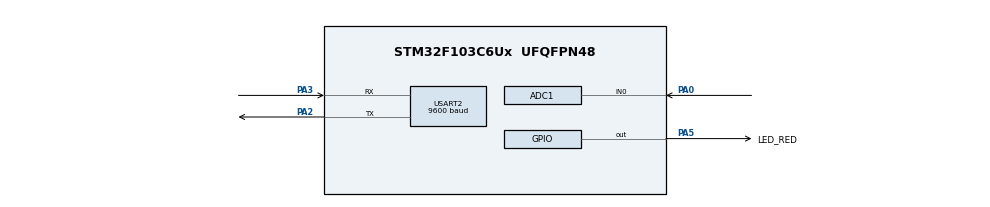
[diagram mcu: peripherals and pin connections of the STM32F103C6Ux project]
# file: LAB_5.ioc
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ADC1.Channel-0\#ChannelRegularConversion=ADC_CHANNEL_0
ADC1.ContinuousConvMode=ENABLE
ADC1.NbrOfConversionFlag=1
ADC1.Rank-0\#ChannelRegularConversion=1
ADC1.SamplingTime-0\#ChannelRegularConversion=ADC_SAMPLETIME_1CYCLE_5
ADC1.master=1
Mcu.Family=STM32F1
Mcu.Name=STM32F103C6Ux
Mcu.Package=UFQFPN48
NVIC.PriorityGroup=NVIC_PRIORITYGROUP_4
NVIC.TIM2_IRQn=true\:0\:0\:false\:false\:true\:true\:true
NVIC.USART2_IRQn=true\:0\:0\:false\:false\:true\:true\:true
PA0-WKUP.Signal=ADCx_IN0
PA2.Mode=Asynchronous
PA2.Signal=USART2_TX
PA3.Mode=Asynchronous
PA3.Signal=USART2_RX
PA5.GPIO_Label=LED_RED
PA5.Signal=GPIO_Output
ProjectManager.HeapSize=0x200
ProjectManager.StackSize=0x400
ProjectManager.TargetToolchain=STM32CubeIDE
RCC.APB1Freq_Value=8000000
RCC.APB2Freq_Value=8000000
SH.ADCx_IN0.0=ADC1_IN0,IN0
TIM2.Period=9
TIM2.Prescaler=7999
USART2.BaudRate=9600
USART2.VirtualMode=VM_ASYNC
VP_SYS_VS_ND.Mode=No_Debug
VP_TIM2_VS_ClockSourceINT.Mode=Internal
board=custom

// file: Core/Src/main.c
/* USER CODE BEGIN Header */
/**
  ******************************************************************************
  * @file           : main.c
  * @brief          : Main program body
  ******************************************************************************
  * @attention
  *
  * <h2><center>&copy; Copyright (c) 2025 STMicroelectronics.
  * All rights reserved.</center></h2>
  *
  * This software component is licensed by ST under BSD 3-Clause license,
  * the "License"; You may not use this file except in compliance with the
  * License. You may obtain a copy of the License at:
  *                        opensource.org/licenses/BSD-3-Clause
  *
  ******************************************************************************
  */
/* USER CODE END Header */
#include "main.h"
#include "global.h"
#include "software_timer.h"
#include "command_parser.h"
#include "uart_communication.h"

ADC_HandleTypeDef hadc1;

TIM_HandleTypeDef htim2;

UART_HandleTypeDef huart2;

void SystemClock_Config(void);
static void MX_GPIO_Init(void);
static void MX_ADC1_Init(void);
static void MX_USART2_UART_Init(void);
static void MX_TIM2_Init(void);

/* USER CODE BEGIN 0 */

void HAL_UART_RxCpltCallback(UART_HandleTypeDef *huart){
	if(huart->Instance == USART2){
		//backspace, delete
		if(temp == 127 || temp == 8){
			if(index_buffer > 0){
				index_buffer--;
				buffer[index_buffer] ='\0';
			}
		}
		else{
			if(index_buffer < MAX_BUFFER_SIZE - 1){
				buffer[index_buffer] = temp;
				index_buffer++;
			}
			else{
				index_buffer = 0;
			}
		}

		buffer_flag = 1;
		HAL_UART_Receive_IT(&huart2, &temp, 1);
	}
}
/* USER CODE END 0 */

int main(void)
{

  /* MCU Configuration--------------------------------------------------------*/

  /* Reset of all peripherals, Initializes the Flash interface and the Systick. */
  HAL_Init();

  /* Configure the system clock */
  SystemClock_Config();

  /* Initialize all configured peripherals */
  MX_GPIO_Init();
  MX_ADC1_Init();
  MX_USART2_UART_Init();
  MX_TIM2_Init();
  /* USER CODE BEGIN 2 */

  HAL_UART_Receive_IT(&huart2, &temp, 1);
  HAL_ADC_Start(&hadc1);

  HAL_TIM_Base_Start_IT(&htim2);

  setTimer(0, 10);

  /* USER CODE END 2 */

  /* Infinite loop */
  /* USER CODE BEGIN WHILE */
  while (1)
  {
	  if(buffer_flag == 1){
		  command_parser_fsm();
		  buffer_flag = 0;
	  }
	  uart_communication_fsm();
    /* USER CODE END WHILE */

  }
}

void SystemClock_Config(void)
{
  RCC_OscInitTypeDef RCC_OscInitStruct = {0};
  RCC_ClkInitTypeDef RCC_ClkInitStruct = {0};
  RCC_PeriphCLKInitTypeDef PeriphClkInit = {0};

  /** Initializes the RCC Oscillators according to the specified parameters
  * in the RCC_OscInitTypeDef structure.
  */
  RCC_OscInitStruct.OscillatorType = RCC_OSCILLATORTYPE_HSI;
  RCC_OscInitStruct.HSIState = RCC_HSI_ON;
  RCC_OscInitStruct.HSICalibrationValue = RCC_HSICALIBRATION_DEFAULT;
  RCC_OscInitStruct.PLL.PLLState = RCC_PLL_NONE;
  if (HAL_RCC_OscConfig(&RCC_OscInitStruct) != HAL_OK)
  {
    Error_Handler();
  }
  /** Initializes the CPU, AHB and APB buses clocks
  */
  RCC_ClkInitStruct.ClockType = RCC_CLOCKTYPE_HCLK|RCC_CLOCKTYPE_SYSCLK
                              |RCC_CLOCKTYPE_PCLK1|RCC_CLOCKTYPE_PCLK2;
  RCC_ClkInitStruct.SYSCLKSource = RCC_SYSCLKSOURCE_HSI;
  RCC_ClkInitStruct.AHBCLKDivider = RCC_SYSCLK_DIV1;
  RCC_ClkInitStruct.APB1CLKDivider = RCC_HCLK_DIV1;
  RCC_ClkInitStruct.APB2CLKDivider = RCC_HCLK_DIV1;

  if (HAL_RCC_ClockConfig(&RCC_ClkInitStruct, FLASH_LATENCY_0) != HAL_OK)
  {
    Error_Handler();
  }
  PeriphClkInit.PeriphClockSelection = RCC_PERIPHCLK_ADC;
  PeriphClkInit.AdcClockSelection = RCC_ADCPCLK2_DIV2;
  if (HAL_RCCEx_PeriphCLKConfig(&PeriphClkInit) != HAL_OK)
  {
    Error_Handler();
  }
}

static void MX_ADC1_Init(void)
{

  ADC_ChannelConfTypeDef sConfig = {0};

  /** Common config
  */
  hadc1.Instance = ADC1;
  hadc1.Init.ScanConvMode = ADC_SCAN_DISABLE;
  hadc1.Init.ContinuousConvMode = ENABLE;
  hadc1.Init.DiscontinuousConvMode = DISABLE;
  hadc1.Init.ExternalTrigConv = ADC_SOFTWARE_START;
  hadc1.Init.DataAlign = ADC_DATAALIGN_RIGHT;
  hadc1.Init.NbrOfConversion = 1;
  if (HAL_ADC_Init(&hadc1) != HAL_OK)
  {
    Error_Handler();
  }
  /** Configure Regular Channel
  */
  sConfig.Channel = ADC_CHANNEL_0;
  sConfig.Rank = ADC_REGULAR_RANK_1;
  sConfig.SamplingTime = ADC_SAMPLETIME_1CYCLE_5;
  if (HAL_ADC_ConfigChannel(&hadc1, &sConfig) != HAL_OK)
  {
    Error_Handler();
  }

}

static void MX_TIM2_Init(void)
{

  TIM_ClockConfigTypeDef sClockSourceConfig = {0};
  TIM_MasterConfigTypeDef sMasterConfig = {0};

  htim2.Instance = TIM2;
  htim2.Init.Prescaler = 7999;
  htim2.Init.CounterMode = TIM_COUNTERMODE_UP;
  htim2.Init.Period = 9;
  htim2.Init.ClockDivision = TIM_CLOCKDIVISION_DIV1;
  htim2.Init.AutoReloadPreload = TIM_AUTORELOAD_PRELOAD_DISABLE;
  if (HAL_TIM_Base_Init(&htim2) != HAL_OK)
  {
    Error_Handler();
  }
  sClockSourceConfig.ClockSource = TIM_CLOCKSOURCE_INTERNAL;
  if (HAL_TIM_ConfigClockSource(&htim2, &sClockSourceConfig) != HAL_OK)
  {
    Error_Handler();
  }
  sMasterConfig.MasterOutputTrigger = TIM_TRGO_RESET;
  sMasterConfig.MasterSlaveMode = TIM_MASTERSLAVEMODE_DISABLE;
  if (HAL_TIMEx_MasterConfigSynchronization(&htim2, &sMasterConfig) != HAL_OK)
  {
    Error_Handler();
  }

}

static void MX_USART2_UART_Init(void)
{

  huart2.Instance = USART2;
  huart2.Init.BaudRate = 9600;
  huart2.Init.WordLength = UART_WORDLENGTH_8B;
  huart2.Init.StopBits = UART_STOPBITS_1;
  huart2.Init.Parity = UART_PARITY_NONE;
  huart2.Init.Mode = UART_MODE_TX_RX;
  huart2.Init.HwFlowCtl = UART_HWCONTROL_NONE;
  huart2.Init.OverSampling = UART_OVERSAMPLING_16;
  if (HAL_UART_Init(&huart2) != HAL_OK)
  {
    Error_Handler();
  }

}

static void MX_GPIO_Init(void)
{
  GPIO_InitTypeDef GPIO_InitStruct = {0};

  /* GPIO Ports Clock Enable */
  __HAL_RCC_GPIOA_CLK_ENABLE();

  /*Configure GPIO pin Output Level */
  HAL_GPIO_WritePin(LED_RED_GPIO_Port, LED_RED_Pin, GPIO_PIN_RESET);

  /*Configure GPIO pin : LED_RED_Pin */
  GPIO_InitStruct.Pin = LED_RED_Pin;
  GPIO_InitStruct.Mode = GPIO_MODE_OUTPUT_PP;
  GPIO_InitStruct.Pull = GPIO_NOPULL;
  GPIO_InitStruct.Speed = GPIO_SPEED_FREQ_LOW;
  HAL_GPIO_Init(LED_RED_GPIO_Port, &GPIO_InitStruct);

}

/* USER CODE BEGIN 4 */
void HAL_TIM_PeriodElapsedCallback(TIM_HandleTypeDef *htim){
	timerRun();
}
/* USER CODE END 4 */

void Error_Handler(void)
{
  __disable_irq();
  while (1)
  {
  }
}

/************************ (C) COPYRIGHT STMicroelectronics *****END OF FILE****/
